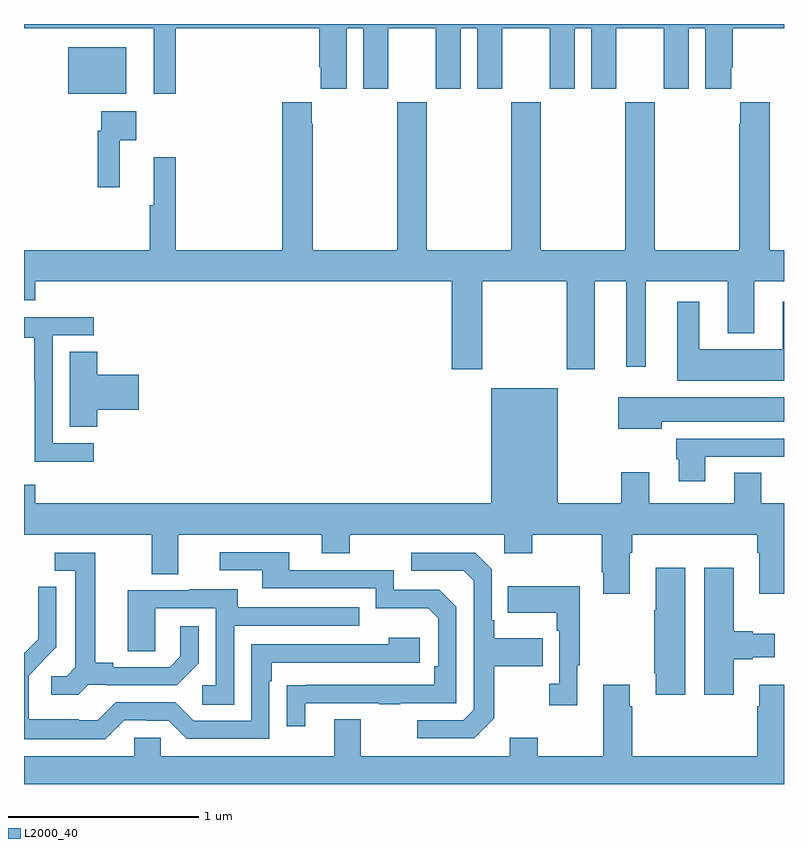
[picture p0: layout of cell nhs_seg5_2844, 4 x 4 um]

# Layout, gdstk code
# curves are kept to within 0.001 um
import gdstk
lib = gdstk.Library(unit=1e-6, precision=1e-09)
def R(c, l, rs):  # rectangles x0, y0, x1, y1
    for r in rs: c.add(gdstk.rectangle(r[:2], r[2:], *l))
def P(c, l, *ps):  # polygons
    for p in ps: c.add(gdstk.Polygon(p, *l))
L2000_40 = (2000, 40)

nhs_seg5_2844 = lib.new_cell('nhs_seg5_2844')
R(nhs_seg5_2844, L2000_40, [(277.232,840.431,277.537,840.676)])
P(nhs_seg5_2844, L2000_40, [(277.799,840.776),(278.555,840.776),(278.555,840.571),(278.561,840.571),(278.561,840.459),(278.698,840.459),(278.698,840.776),(278.786,840.776),(278.786,840.459),(278.917,840.459),(278.917,840.776),(279.167,840.776),(279.167,840.459),(279.298,840.459),(279.298,840.776),(279.386,840.776),(279.386,840.459),(279.517,840.459),(279.517,840.776),(279.767,840.776),(279.767,840.459),(279.898,840.459),(279.898,840.776),(279.986,840.776),(279.986,840.459),(280.117,840.459),(280.117,840.776),(280.367,840.776),(280.367,840.459),(280.498,840.459),(280.498,840.776),(280.586,840.776),(280.586,840.459),(280.723,840.459),(280.723,840.571),(280.73,840.571),(280.73,840.776),(281,840.776),(281,840.799),(277,840.799),(277,840.776),(277.682,840.776),(277.682,840.432),(277.799,840.432)],
  [(279.411,839.444),(279.856,839.444),(279.856,838.983),(280.003,838.983),(280.003,839.444),(280.169,839.444),(280.169,838.995),(280.273,838.995),(280.273,839.444),(280.703,839.444),(280.703,839.171),(280.843,839.171),(280.843,839.444),(281,839.444),(281,839.608),(280.925,839.608),(280.925,840.388),(280.769,840.388),(280.769,840.275),(280.765,840.275),(280.765,839.608),(280.32,839.608),(280.32,840.388),(280.165,840.388),(280.165,839.608),(279.72,839.608),(279.72,840.388),(279.565,840.388),(279.565,839.608),(279.12,839.608),(279.12,840.388),(278.965,840.388),(278.965,839.608),(278.52,839.608),(278.52,840.275),(278.515,840.275),(278.515,840.388),(278.36,840.388),(278.36,839.608),(277.799,839.608),(277.799,840.097),(277.682,840.097),(277.682,839.844),(277.663,839.844),(277.663,839.608),(277,839.608),(277,839.345),(277.058,839.345),(277.058,839.444),(279.251,839.444),(279.251,838.983),(279.411,838.983)],
  [(277.505,840.188),(277.591,840.188),(277.591,840.34),(277.407,840.34),(277.407,840.236),(277.387,840.236),(277.387,839.94),(277.505,839.94)],
  [(281,839.338),(280.994,839.338),(280.994,839.086),(280.555,839.086),(280.555,839.338),(280.439,839.338),(280.439,838.922),(281,838.922)],
  [(277.366,838.593),(277.152,838.593),(277.152,839.16),(277.366,839.16),(277.366,839.256),(277,839.256),(277,839.148),(277.054,839.148),(277.054,838.924),(277.056,838.924),(277.056,838.495),(277.366,838.495)],
  [(277.385,838.769),(277.603,838.769),(277.603,838.952),(277.385,838.952),(277.385,839.075),(277.241,839.075),(277.241,838.678),(277.385,838.678)],
  [(279.808,838.882),(279.458,838.882),(279.458,838.276),(277.058,838.276),(277.058,838.375),(277,838.375),(277,838.112),(277.673,838.112),(277.673,837.904),(277.813,837.904),(277.813,838.112),(278.567,838.112),(278.567,838.013),(278.715,838.013),(278.715,838.112),(279.528,838.112),(279.528,838.013),(279.675,838.013),(279.675,838.112),(280.042,838.112),(280.042,837.913),(280.049,837.913),(280.049,837.801),(280.189,837.801),(280.189,838.016),(280.202,838.016),(280.202,838.112),(280.859,838.112),(280.859,838.016),(280.871,838.016),(280.871,837.801),(281,837.801),(281,838.276),(280.879,838.276),(280.879,838.436),(280.739,838.436),(280.739,838.276),(280.291,838.276),(280.291,838.441),(280.144,838.441),(280.144,838.276),(279.808,838.276)],
  [(280.357,838.706),(281,838.706),(281,838.834),(280.128,838.834),(280.128,838.67),(280.357,838.67)],
  [(280.585,838.521),(281,838.521),(281,838.617),(280.433,838.617),(280.433,838.509),(280.445,838.509),(280.445,838.392),(280.585,838.392)],
  [(278.479,837.225),(278.869,837.225),(278.869,837.22),(278.981,837.22),(278.981,837.225),(279.276,837.225),(279.276,837.732),(279.186,837.822),(278.946,837.822),(278.946,837.924),(278.395,837.924),(278.395,838.02),(278.031,838.02),(278.031,837.924),(278.255,837.924),(278.255,837.828),(278.85,837.828),(278.85,837.725),(279.127,837.725),(279.18,837.672),(279.18,837.418),(279.16,837.418),(279.16,837.321),(278.383,837.32),(278.383,837.102),(278.479,837.102)],
  [(277.338,837.321),(277.432,837.321),(277.432,837.318),(277.804,837.318),(277.92,837.434),(277.92,837.628),(277.823,837.628),(277.823,837.471),(277.766,837.414),(277.471,837.414),(277.471,837.437),(277.375,837.437),(277.375,838.017),(277.161,838.017),(277.161,837.921),(277.271,837.921),(277.271,837.413),(277.224,837.366),(277.143,837.366),(277.143,837.269),(277.286,837.269)],
  [(279.475,837.145),(279.475,837.418),(279.731,837.418),(279.731,837.565),(279.475,837.565),(279.475,837.661),(279.462,837.661),(279.462,837.93),(279.375,838.017),(279.039,838.017),(279.039,837.921),(279.315,837.921),(279.366,837.87),(279.366,837.189),(279.312,837.135),(279.069,837.135),(279.069,837.039),(279.369,837.039)],
  [(280.48,837.937),(280.325,837.937),(280.325,837.713),(280.318,837.713),(280.318,837.382),(280.325,837.382),(280.325,837.27),(280.48,837.27)],
  [(280.735,837.455),(280.835,837.455),(280.835,837.467),(280.951,837.467),(280.951,837.589),(280.835,837.589),(280.835,837.602),(280.735,837.602),(280.735,837.937),(280.58,837.937),(280.58,837.27),(280.735,837.27)],
  [(279.913,837.425),(279.925,837.425),(279.925,837.841),(279.547,837.841),(279.547,837.701),(279.804,837.701),(279.804,837.605),(279.816,837.605),(279.816,837.326),(279.765,837.326),(279.765,837.213),(279.913,837.213)],
  [(277.527,837.135),(277.643,837.135),(277.643,837.132),(277.761,837.132),(277.857,837.036),(278.292,837.036),(278.292,837.341),(278.305,837.341),(278.305,837.438),(279.082,837.438),(279.082,837.568),(278.921,837.568),(278.921,837.534),(278.196,837.534),(278.196,837.132),(277.893,837.132),(277.797,837.228),(277.482,837.228),(277.389,837.135),(277.289,837.135),(277.289,837.139),(277.026,837.139),(277.026,837.273),(277.024,837.273),(277.024,837.37),(277.17,837.518),(277.17,837.836),(277.074,837.836),(277.074,837.682),(277.076,837.682),(277.076,837.56),(277.005,837.489),(277.002,837.492),(277,837.49),(277,837.035),(277.427,837.035)],
  [(278.106,837.633),(278.765,837.633),(278.765,837.729),(278.125,837.729),(278.125,837.823),(277.871,837.823),(277.871,837.819),(277.547,837.819),(277.547,837.499),(277.692,837.499),(277.692,837.723),(278.01,837.723),(278.01,837.318),(277.938,837.318),(277.938,837.217),(278.106,837.217)],
  [(281,837.322),(280.871,837.322),(280.871,837.209),(280.859,837.209),(280.859,836.944),(280.202,836.944),(280.202,837.209),(280.189,837.209),(280.189,837.322),(280.049,837.322),(280.049,836.944),(279.705,836.944),(279.705,837.043),(279.557,837.043),(279.557,836.944),(278.773,836.944),(278.773,837.139),(278.633,837.139),(278.633,836.944),(277.719,836.944),(277.719,837.042),(277.581,837.042),(277.581,836.944),(277,836.944),(277,836.799),(281,836.799)])

lib.write_gds('nhs_seg5_2844.gds')
